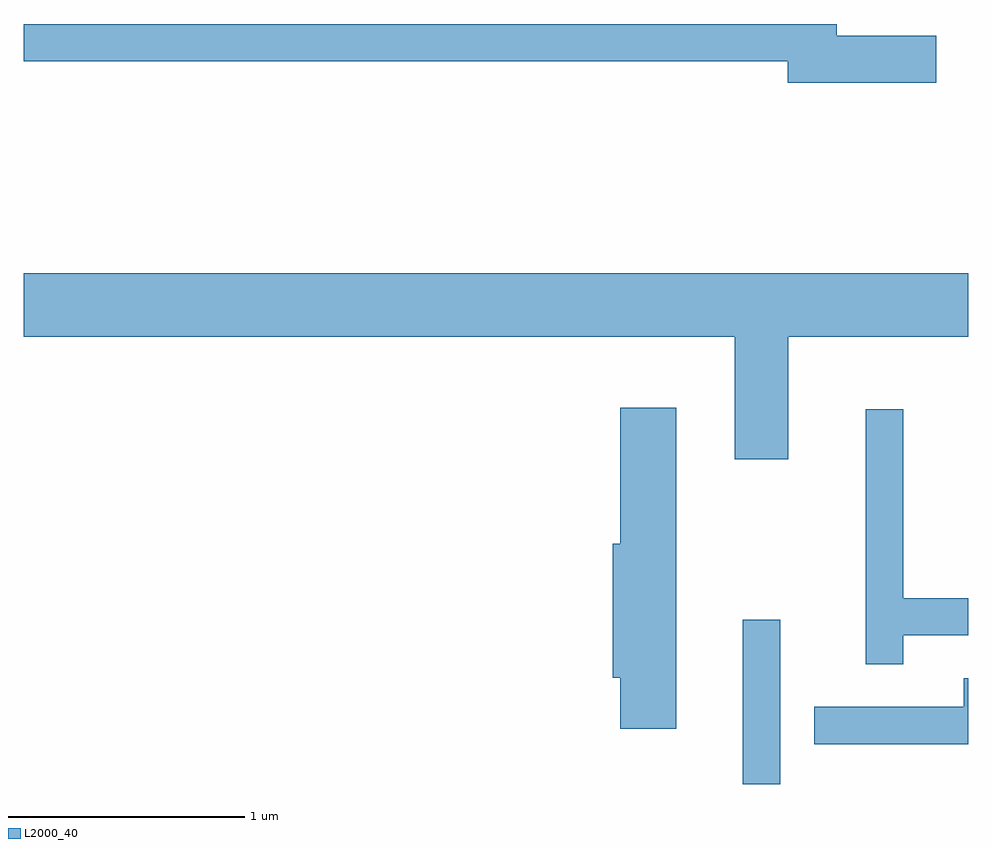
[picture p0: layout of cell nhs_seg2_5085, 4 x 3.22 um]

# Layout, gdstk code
import gdstk
lib = gdstk.Library(unit=1e-6, precision=1e-09)
def R(c, l, rs):  # rectangles x0, y0, x1, y1
    for r in rs: c.add(gdstk.rectangle(r[:2], r[2:], *l))
def P(c, l, *ps):  # polygons
    for p in ps: c.add(gdstk.Polygon(p, *l))
L2000_40 = (2000, 40)

nhs_seg2_5085 = lib.new_cell('nhs_seg2_5085')
R(nhs_seg2_5085, L2000_40, [(338.656,999.802,338.814,1000.498)])
P(nhs_seg2_5085, L2000_40, [(339.474,1002.969),(339.054,1002.969),(339.054,1003.019),(335.611,1003.019),(335.611,1002.861),(338.846,1002.861),(338.846,1002.771),(339.474,1002.771)],
  [(338.849,1001.696),(339.611,1001.696),(339.611,1001.964),(335.611,1001.964),(335.611,1001.696),(338.621,1001.696),(338.621,1001.176),(338.849,1001.176)],
  [(338.374,1001.394),(338.136,1001.394),(338.136,1000.819),(338.106,1000.819),(338.106,1000.251),(338.136,1000.251),(338.136,1000.036),(338.374,1000.036)],
  [(339.334,1000.431),(339.611,1000.431),(339.611,1000.589),(339.334,1000.589),(339.334,1001.388),(339.176,1001.388),(339.176,1000.308),(339.334,1000.308)],
  [(339.611,1000.249),(339.591,1000.249),(339.591,1000.129),(338.958,1000.129),(338.958,999.971),(339.611,999.971)])

lib.write_gds('nhs_seg2_5085.gds')
